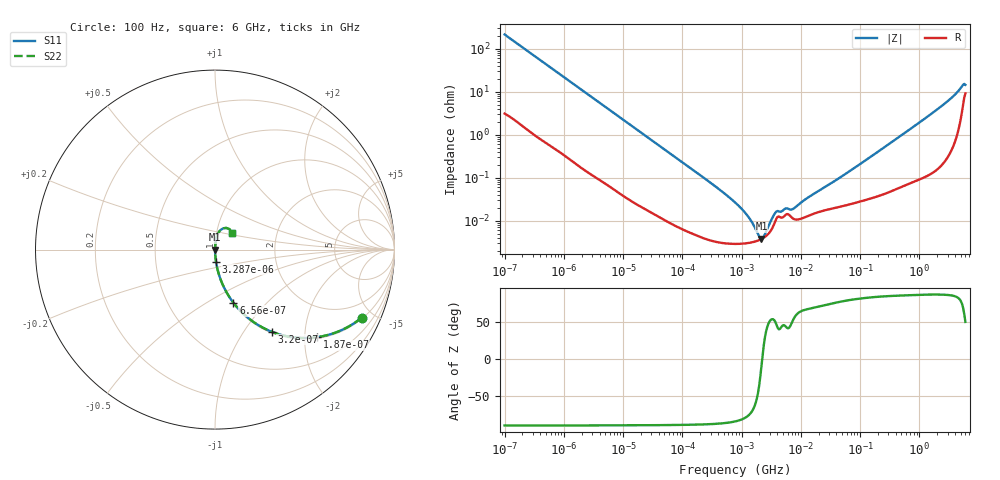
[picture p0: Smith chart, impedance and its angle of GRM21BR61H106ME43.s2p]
!Murata Part Number: GRM21BR61H106ME43
!These Parameters are Measured in Series Mode Connection
!Data Generated on Mar 30, 2021
!  o--ll--o
!Port1  Port2
!  o------o
!Operation Temp=25[degC], DC Bias Voltage=0[V]
!Freq. Start=100[Hz] Stop=6[GHz] 401[Steps]
# Hz S RI R 50
!Freq.(Hz) S11(Real) S11(Imag) S21(Real) S21(Imag) S12(Real) S12(Imag) S22(Real) S22(Imag)
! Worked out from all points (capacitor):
!   401 points, 100 Hz to 6 GHz, reference 50 ohm
!   read as one part in series: C = 7.43 uF near 109 Hz
!   lowest |Z| = 3.79 mohm at 2.169 MHz (marker M1)
!   series resonance near 2.225 MHz, so ESL is about 690 pH
!   S11 on the Smith chart (normalised r, x): 100 Hz: 1.06, -4.27; 187 Hz: 1.03, -2.30; 320 Hz: 1.02, -1.35; 656 Hz: 1.01, -0.66; 3.287 kHz: 1.00, -0.13; 6 GHz: 1.18, +0.22
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100  0.8164 -0.38  0.1836 0.38  0.1836 0.38  0.8164 -0.38
187  0.5679 -0.488  0.4321 0.488  0.4321 0.488  0.5679 -0.488
320  0.3152 -0.4574  0.6848 0.4574  0.6848 0.4574  0.3152 -0.4574
656  0.1027 -0.2961  0.8973 0.2961  0.8973 0.2961  0.1027 -0.2961
2008  0.0134 -0.1078  0.9866 0.1078  0.9866 0.1078  0.0134 -0.1078
3287  0.00553 -0.0667  0.9945 0.0667  0.9945 0.0667  0.00553 -0.0667
40335  0.000153 -0.00562  0.9998 0.00562  0.9998 0.00562  0.000153 -0.00562
316350  3.44e-05 -0.000719  1 0.000719  1 0.000719  3.44e-05 -0.000719
774597  2.89e-05 -0.000265  1 0.000265  1 0.000265  2.89e-05 -0.000265
1449809  3.11e-05 -9.39e-05  1 9.39e-05  1 9.39e-05  3.11e-05 -9.39e-05
2169299  3.75e-05 -5.5e-06  1 5.5e-06  1 5.5e-06  3.75e-05 -5.5e-06
2967816  5.33e-05 6.68e-05  0.9999 -6.68e-05  0.9999 -6.68e-05  5.33e-05 6.68e-05
4060267  0.000123 0.000115  0.9999 -0.000115  0.9999 -0.000115  0.000123 0.000115
5554849  0.000137 0.000135  0.9999 -0.000135  0.9999 -0.000135  0.000137 0.000135
7599586  0.00011 0.000158  0.9999 -0.000158  0.9999 -0.000158  0.00011 0.000158
1.555665e7  0.000141 0.000373  0.9999 -0.000373  0.9999 -0.000373  0.000141 0.000373
5.211241e7  0.000221 0.00111  0.9998 -0.00111  0.9998 -0.00111  0.000221 0.00111
3.124326e8  0.000501 0.00613  0.9995 -0.00613  0.9995 -0.00613  0.000501 0.00613
1.497423e9  0.00199 0.0285  0.998 -0.0285  0.998 -0.0285  0.00199 0.0285
3.505958e9  0.00941 0.0708  0.9906 -0.0708  0.9906 -0.0708  0.00941 0.0708
5.245841e9  0.047 0.1187  0.953 -0.1187  0.953 -0.1187  0.047 0.1187
6e9  0.0927 0.0924  0.9073 -0.0924  0.9073 -0.0924  0.0927 0.0924
